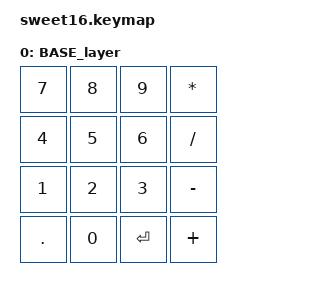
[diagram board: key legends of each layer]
/*
 * Copyright (c) 2022 The ZMK Contributors
 *
 * SPDX-License-Identifier: MIT
 */

#include <behaviors.dtsi>
#include <dt-bindings/zmk/keys.h>
#include <dt-bindings/zmk/bt.h>
#include <dt-bindings/zmk/outputs.h>

#define BASE       0

/ {

    keymap {
        compatible = "zmk,keymap";

        BASE_layer {
            bindings = <
              &kp N7  &kp N8  &kp N9 &kp STAR
              &kp N4  &kp N5  &kp N6 &kp SLASH
              &kp N1  &kp N2  &kp N3 &kp MINUS
              &kp DOT &kp N0 &kp RET &kp PLUS
            >;
        };

    };
};
